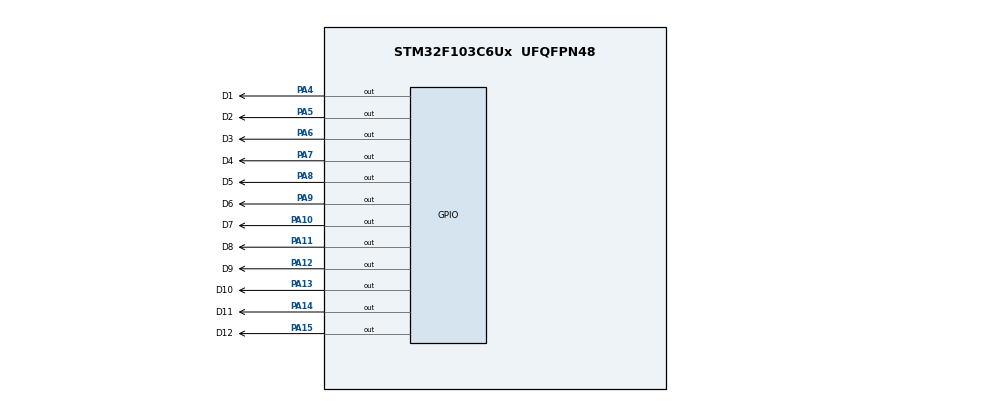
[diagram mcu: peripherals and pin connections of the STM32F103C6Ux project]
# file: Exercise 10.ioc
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Mcu.Family=STM32F1
Mcu.Name=STM32F103C6Ux
Mcu.Package=UFQFPN48
NVIC.PriorityGroup=NVIC_PRIORITYGROUP_4
PA10.GPIO_Label=D7
PA10.Signal=GPIO_Output
PA11.GPIO_Label=D8
PA11.Signal=GPIO_Output
PA12.GPIO_Label=D9
PA12.Signal=GPIO_Output
PA13.GPIO_Label=D10
PA13.Signal=GPIO_Output
PA14.GPIO_Label=D11
PA14.Signal=GPIO_Output
PA15.GPIO_Label=D12
PA15.Signal=GPIO_Output
PA4.GPIO_Label=D1
PA4.Signal=GPIO_Output
PA5.GPIO_Label=D2
PA5.Signal=GPIO_Output
PA6.GPIO_Label=D3
PA6.Signal=GPIO_Output
PA7.GPIO_Label=D4
PA7.Signal=GPIO_Output
PA8.GPIO_Label=D5
PA8.Signal=GPIO_Output
PA9.GPIO_Label=D6
PA9.Signal=GPIO_Output
ProjectManager.HeapSize=0x200
ProjectManager.StackSize=0x400
ProjectManager.TargetToolchain=STM32CubeIDE
RCC.APB1Freq_Value=8000000
RCC.APB2Freq_Value=8000000
VP_SYS_VS_ND.Mode=No_Debug
board=custom

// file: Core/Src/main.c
/* USER CODE BEGIN Header */
/**
  ******************************************************************************
  * @file           : main.c
  * @brief          : Main program body
  ******************************************************************************
  * @attention
  *
  * <h2><center>&copy; Copyright (c) 2022 STMicroelectronics.
  * All rights reserved.</center></h2>
  *
  * This software component is licensed by ST under BSD 3-Clause license,
  * the "License"; You may not use this file except in compliance with the
  * License. You may obtain a copy of the License at:
  *                        opensource.org/licenses/BSD-3-Clause
  *
  ******************************************************************************
  */
/* USER CODE END Header */
#include "main.h"

void SystemClock_Config(void);
static void MX_GPIO_Init(void);

/* USER CODE BEGIN 0 */
void clearAllClock ()
{
	HAL_GPIO_WritePin(D1_GPIO_Port, D1_Pin, RESET);
	HAL_GPIO_WritePin(D2_GPIO_Port, D2_Pin, RESET);
	HAL_GPIO_WritePin(D3_GPIO_Port, D3_Pin, RESET);
	HAL_GPIO_WritePin(D4_GPIO_Port, D4_Pin, RESET);
	HAL_GPIO_WritePin(D5_GPIO_Port, D5_Pin, RESET);
	HAL_GPIO_WritePin(D6_GPIO_Port, D6_Pin, RESET);
	HAL_GPIO_WritePin(D7_GPIO_Port, D7_Pin, RESET);
	HAL_GPIO_WritePin(D8_GPIO_Port, D8_Pin, RESET);
	HAL_GPIO_WritePin(D9_GPIO_Port, D9_Pin, RESET);
	HAL_GPIO_WritePin(D10_GPIO_Port, D10_Pin, RESET);
	HAL_GPIO_WritePin(D11_GPIO_Port, D11_Pin, RESET);
	HAL_GPIO_WritePin(D12_GPIO_Port, D12_Pin, RESET);
}

void setNumberOnClock(int num)
{
	switch (num)
		  {
		  case 0: HAL_GPIO_WritePin(D2_GPIO_Port, D2_Pin, SET); break;
		  case 1: HAL_GPIO_WritePin(D3_GPIO_Port, D3_Pin, SET); break;
		  case 2: HAL_GPIO_WritePin(D4_GPIO_Port, D4_Pin, SET); break;
		  case 3: HAL_GPIO_WritePin(D5_GPIO_Port, D5_Pin, SET); break;
		  case 4: HAL_GPIO_WritePin(D5_GPIO_Port, D6_Pin, SET); break;
		  case 5: HAL_GPIO_WritePin(D7_GPIO_Port, D7_Pin, SET); break;
		  case 6: HAL_GPIO_WritePin(D8_GPIO_Port, D8_Pin, SET); break;
		  case 7: HAL_GPIO_WritePin(D9_GPIO_Port, D9_Pin, SET); break;
		  case 8: HAL_GPIO_WritePin(D10_GPIO_Port, D10_Pin, SET); break;
		  case 9: HAL_GPIO_WritePin(D11_GPIO_Port, D11_Pin, SET); break;
		  case 10: HAL_GPIO_WritePin(D12_GPIO_Port, D12_Pin, SET); break;
		  case 11: HAL_GPIO_WritePin(D1_GPIO_Port, D1_Pin, SET); break;
		  case 12: HAL_GPIO_WritePin(D2_GPIO_Port, D2_Pin, SET); break;
		  }
}
/* USER CODE END 0 */

int main(void)
{

  /* MCU Configuration--------------------------------------------------------*/

  /* Reset of all peripherals, Initializes the Flash interface and the Systick. */
  HAL_Init();

  /* Configure the system clock */
  SystemClock_Config();

  /* Initialize all configured peripherals */
  MX_GPIO_Init();

  /* Infinite loop */
  /* USER CODE BEGIN WHILE */
  int second = 30;
  int minute = 59;
  int hour = 1;
  //start time is 1h:59p:30s
  while (1)
  {
	  clearAllClock(); //Reset state

	  second++;

	  if (second >= 60) // 1 minute = 60s
	  {
		  second = 0;
		  minute++;

		  if (minute >= 60) // 1 hour = 60p
		  {
			  minute = 0;
			  hour++;
		  	  if (hour >= 12) {hour = 0;}//start new a cycle
		  }
	  }
	  setNumberOnClock(hour); //Turn on Led to show hours
	  setNumberOnClock(minute/5); //Turn on Led to show minutes
	  setNumberOnClock(second/5); // Turn on Led to show seconds

	  HAL_Delay(500);

    /* USER CODE END WHILE */

  }
}

void SystemClock_Config(void)
{
  RCC_OscInitTypeDef RCC_OscInitStruct = {0};
  RCC_ClkInitTypeDef RCC_ClkInitStruct = {0};

  /** Initializes the RCC Oscillators according to the specified parameters
  * in the RCC_OscInitTypeDef structure.
  */
  RCC_OscInitStruct.OscillatorType = RCC_OSCILLATORTYPE_HSI;
  RCC_OscInitStruct.HSIState = RCC_HSI_ON;
  RCC_OscInitStruct.HSICalibrationValue = RCC_HSICALIBRATION_DEFAULT;
  RCC_OscInitStruct.PLL.PLLState = RCC_PLL_NONE;
  if (HAL_RCC_OscConfig(&RCC_OscInitStruct) != HAL_OK)
  {
    Error_Handler();
  }
  /** Initializes the CPU, AHB and APB buses clocks
  */
  RCC_ClkInitStruct.ClockType = RCC_CLOCKTYPE_HCLK|RCC_CLOCKTYPE_SYSCLK
                              |RCC_CLOCKTYPE_PCLK1|RCC_CLOCKTYPE_PCLK2;
  RCC_ClkInitStruct.SYSCLKSource = RCC_SYSCLKSOURCE_HSI;
  RCC_ClkInitStruct.AHBCLKDivider = RCC_SYSCLK_DIV1;
  RCC_ClkInitStruct.APB1CLKDivider = RCC_HCLK_DIV1;
  RCC_ClkInitStruct.APB2CLKDivider = RCC_HCLK_DIV1;

  if (HAL_RCC_ClockConfig(&RCC_ClkInitStruct, FLASH_LATENCY_0) != HAL_OK)
  {
    Error_Handler();
  }
}

static void MX_GPIO_Init(void)
{
  GPIO_InitTypeDef GPIO_InitStruct = {0};

  /* GPIO Ports Clock Enable */
  __HAL_RCC_GPIOA_CLK_ENABLE();

  /*Configure GPIO pin Output Level */
  HAL_GPIO_WritePin(GPIOA, D1_Pin|D2_Pin|D3_Pin|D4_Pin
                          |D5_Pin|D6_Pin|D7_Pin|D8_Pin
                          |D9_Pin|D10_Pin|D11_Pin|D12_Pin, GPIO_PIN_RESET);

  /*Configure GPIO pins : D1_Pin D2_Pin D3_Pin D4_Pin
                           D5_Pin D6_Pin D7_Pin D8_Pin
                           D9_Pin D10_Pin D11_Pin D12_Pin */
  GPIO_InitStruct.Pin = D1_Pin|D2_Pin|D3_Pin|D4_Pin
                          |D5_Pin|D6_Pin|D7_Pin|D8_Pin
                          |D9_Pin|D10_Pin|D11_Pin|D12_Pin;
  GPIO_InitStruct.Mode = GPIO_MODE_OUTPUT_PP;
  GPIO_InitStruct.Pull = GPIO_NOPULL;
  GPIO_InitStruct.Speed = GPIO_SPEED_FREQ_LOW;
  HAL_GPIO_Init(GPIOA, &GPIO_InitStruct);

}

void Error_Handler(void)
{
  __disable_irq();
  while (1)
  {
  }
}

/************************ (C) COPYRIGHT STMicroelectronics *****END OF FILE****/
